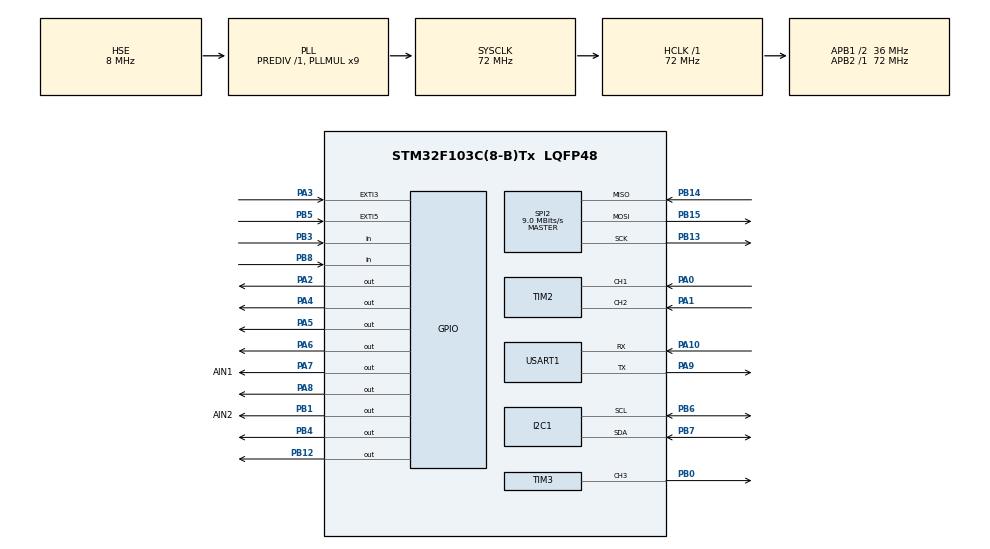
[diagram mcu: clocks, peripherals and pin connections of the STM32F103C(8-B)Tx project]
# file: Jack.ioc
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Mcu.Family=STM32F1
Mcu.Name=STM32F103C(8-B)Tx
Mcu.Package=LQFP48
NVIC.EXTI3_IRQn=true\:0\:0\:false\:false\:true\:true\:true\:true
NVIC.EXTI9_5_IRQn=true\:0\:0\:false\:false\:true\:true\:true\:true
NVIC.PriorityGroup=NVIC_PRIORITYGROUP_4
NVIC.TIM2_IRQn=true\:0\:0\:false\:false\:true\:true\:true\:true
NVIC.USART1_IRQn=true\:0\:0\:false\:false\:true\:true\:true\:true
PA0-WKUP.Signal=S_TIM2_CH1_ETR
PA1.Signal=S_TIM2_CH2
PA10.Mode=Asynchronous
PA10.Signal=USART1_RX
PA13.Mode=Serial_Wire
PA13.Signal=SYS_JTMS-SWDIO
PA14.Mode=Serial_Wire
PA14.Signal=SYS_JTCK-SWCLK
PA2.Signal=GPIO_Output
PA3.GPIO_ModeDefaultEXTI=GPIO_MODE_IT_RISING_FALLING
PA3.GPIO_PuPd=GPIO_PULLDOWN
PA3.Signal=GPXTI3
PA4.Signal=GPIO_Output
PA5.Signal=GPIO_Output
PA6.Signal=GPIO_Output
PA7.GPIO_Label=AIN1
PA7.Signal=GPIO_Output
PA8.GPIO_ModeDefaultOutputPP=GPIO_MODE_OUTPUT_OD
PA8.GPIO_PuPd=GPIO_PULLUP
PA8.Signal=GPIO_Output
PA9.Mode=Asynchronous
PA9.Signal=USART1_TX
PB0.Signal=S_TIM3_CH3
PB1.GPIO_Label=AIN2
PB1.Signal=GPIO_Output
PB12.Signal=GPIO_Output
PB13.Mode=Full_Duplex_Master
PB13.Signal=SPI2_SCK
PB14.Mode=Full_Duplex_Master
PB14.Signal=SPI2_MISO
PB15.Mode=Full_Duplex_Master
PB15.Signal=SPI2_MOSI
PB3.GPIO_PuPd=GPIO_PULLUP
PB3.Signal=GPIO_Input
PB4.PinState=GPIO_PIN_SET
PB4.Signal=GPIO_Output
PB5.GPIO_PuPd=GPIO_PULLDOWN
PB5.Signal=GPXTI5
PB6.Mode=I2C
PB6.Signal=I2C1_SCL
PB7.Mode=I2C
PB7.Signal=I2C1_SDA
PB8.GPIO_PuPd=GPIO_PULLUP
PB8.Signal=GPIO_Input
PD0-OSC_IN.Mode=HSE-External-Oscillator
PD0-OSC_IN.Signal=RCC_OSC_IN
PD1-OSC_OUT.Mode=HSE-External-Oscillator
PD1-OSC_OUT.Signal=RCC_OSC_OUT
ProjectManager.HeapSize=0x200
ProjectManager.StackSize=0x400
ProjectManager.TargetToolchain=CMake
RCC.AHBFreq_Value=72000000
RCC.APB1CLKDivider=RCC_HCLK_DIV2
RCC.APB1Freq_Value=36000000
RCC.APB1TimFreq_Value=72000000
RCC.APB2Freq_Value=72000000
RCC.APB2TimFreq_Value=72000000
RCC.HCLKFreq_Value=72000000
RCC.PLLMUL=RCC_PLL_MUL9
RCC.PLLSourceVirtual=RCC_PLLSOURCE_HSE
RCC.SYSCLKFreq_VALUE=72000000
RCC.SYSCLKSource=RCC_SYSCLKSOURCE_PLLCLK
RCC.USBFreq_Value=72000000
SH.S_TIM2_CH1_ETR.0=TIM2_CH1,Encoder_Interface
SH.S_TIM2_CH2.0=TIM2_CH2,Encoder_Interface
SH.S_TIM3_CH3.0=TIM3_CH3,PWM Generation3 CH3
SPI2.BaudRatePrescaler=SPI_BAUDRATEPRESCALER_4
SPI2.CalculateBaudRate=9.0 MBits/s
SPI2.Direction=SPI_DIRECTION_2LINES
SPI2.Mode=SPI_MODE_MASTER
SPI2.VirtualType=VM_MASTER
TIM2.EncoderMode=TIM_ENCODERMODE_TI12
TIM3.Channel-PWM\ Generation3\ CH3=TIM_CHANNEL_3
TIM4.Prescaler=35
USART1.VirtualMode=VM_ASYNC
VP_TIM4_VS_ClockSourceINT.Mode=Internal
board=custom

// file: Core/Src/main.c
/* USER CODE BEGIN Header */
/**
  ******************************************************************************
  * @file           : main.c
  * @brief          : Main program body
  ******************************************************************************
  * @attention
  *
  * Copyright (c) 2026 STMicroelectronics.
  * All rights reserved.
  *
  * This software is licensed under terms that can be found in the LICENSE file
  * in the root directory of this software component.
  * If no LICENSE file comes with this software, it is provided AS-IS.
  *
  ******************************************************************************
  */
/* USER CODE END Header */
#include "main.h"
#include "i2c.h"
#include "spi.h"
#include "tim.h"
#include "usart.h"
#include "gpio.h"

/* USER CODE BEGIN Includes */
#include "tb6612.h"
#include "oled.h"
#include "pir.h"
#include "buzzer.h"
#include "encoder.h"
#include "w25q64.h"
#include "dht11.h"
#include "hcsr04.h"
#include "app.h"
/* USER CODE END Includes */

void SystemClock_Config(void);

int main(void)
{

  /* MCU Configuration--------------------------------------------------------*/

  /* Reset of all peripherals, Initializes the Flash interface and the Systick. */
  HAL_Init();

  /* Configure the system clock */
  SystemClock_Config();

  /* Initialize all configured peripherals */
  MX_GPIO_Init();
  MX_TIM3_Init();
  MX_I2C1_Init();
  MX_TIM2_Init();
  MX_SPI2_Init();
  MX_TIM4_Init();
  MX_USART1_UART_Init();
  /* USER CODE BEGIN 2 */
  TB6612_Init();
  OLED_Init();
  PIR_Init();
  Buzzer_Init();
  Encoder_Init();
  W25Q64_Init();
  DHT11_Init();
  HCSR04_Init();

  App_Init();
  /* USER CODE END 2 */

  /* Infinite loop */
  while (1)
  {

    /* USER CODE BEGIN 3 */
    App_Run();
  /* USER CODE END 3 */
}
}

void SystemClock_Config(void)
{
  RCC_OscInitTypeDef RCC_OscInitStruct = {0};
  RCC_ClkInitTypeDef RCC_ClkInitStruct = {0};

  /** Initializes the RCC Oscillators according to the specified parameters
  * in the RCC_OscInitTypeDef structure.
  */
  RCC_OscInitStruct.OscillatorType = RCC_OSCILLATORTYPE_HSE;
  RCC_OscInitStruct.HSEState = RCC_HSE_ON;
  RCC_OscInitStruct.HSEPredivValue = RCC_HSE_PREDIV_DIV1;
  RCC_OscInitStruct.HSIState = RCC_HSI_ON;
  RCC_OscInitStruct.PLL.PLLState = RCC_PLL_ON;
  RCC_OscInitStruct.PLL.PLLSource = RCC_PLLSOURCE_HSE;
  RCC_OscInitStruct.PLL.PLLMUL = RCC_PLL_MUL9;
  if (HAL_RCC_OscConfig(&RCC_OscInitStruct) != HAL_OK)
  {
    Error_Handler();
  }

  /** Initializes the CPU, AHB and APB buses clocks
  */
  RCC_ClkInitStruct.ClockType = RCC_CLOCKTYPE_HCLK|RCC_CLOCKTYPE_SYSCLK
                              |RCC_CLOCKTYPE_PCLK1|RCC_CLOCKTYPE_PCLK2;
  RCC_ClkInitStruct.SYSCLKSource = RCC_SYSCLKSOURCE_PLLCLK;
  RCC_ClkInitStruct.AHBCLKDivider = RCC_SYSCLK_DIV1;
  RCC_ClkInitStruct.APB1CLKDivider = RCC_HCLK_DIV2;
  RCC_ClkInitStruct.APB2CLKDivider = RCC_HCLK_DIV1;

  if (HAL_RCC_ClockConfig(&RCC_ClkInitStruct, FLASH_LATENCY_2) != HAL_OK)
  {
    Error_Handler();
  }
}

void Error_Handler(void)
{
  __disable_irq();
  while (1)
  {
  }
}
